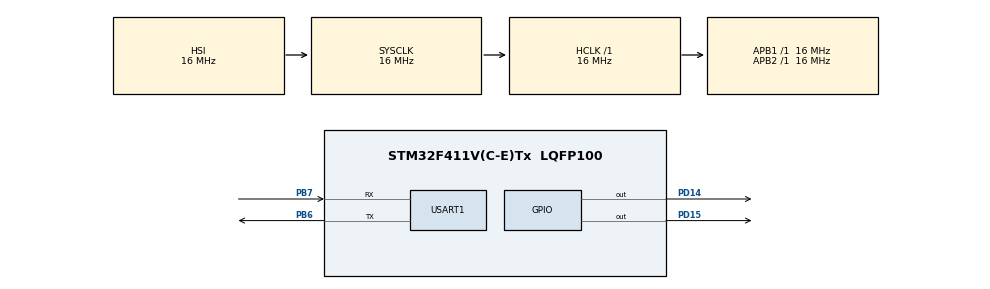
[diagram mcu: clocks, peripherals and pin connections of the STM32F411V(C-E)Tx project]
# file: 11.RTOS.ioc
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Mcu.Family=STM32F4
FREERTOS.Queues01=sensor_queue_,16,uint16_t,0,Dynamic,NULL,NULL
RCC.CortexFreq_Value=16000000
FREERTOS.Tasks01=Task1,24,128,task1_blink_red_led,Default,NULL,Dynamic,NULL,NULL;Task2,8,128,task2_blink_bue_led,Default,NULL,Dynamic,NULL,NULL;Task3,8,512,task3_send_hello,Default,NULL,Dynamic,NULL,NULL;Task4,8,512,task4_send_xinchao,Default,NULL,Dynamic,NULL,NULL;Task5,8,128,task5_read_ss_data,Default,NULL,Dynamic,NULL,NULL
ProjectManager.StackSize=0x400
VP_FREERTOS_VS_CMSIS_V2.Mode=CMSIS_V2
ProjectManager.TargetToolchain=STM32CubeIDE
PB6.Signal=USART1_TX
PB6.Mode=Asynchronous
RCC.LSE_VALUE=32768
RCC.AHBFreq_Value=16000000
RCC.HSE_VALUE=25000000
board=custom
RCC.VCOOutputFreq_Value=192000000
RCC.APB2Freq_Value=16000000
PB7.Signal=USART1_RX
Mcu.Name=STM32F411V(C-E)Tx
PD14.Signal=GPIO_Output
RCC.SYSCLKFreq_VALUE=16000000
Mcu.Package=LQFP100
USART1.VirtualMode=VM_ASYNC
PB7.Mode=Asynchronous
ProjectManager.HeapSize=0x200
RCC.HSI_VALUE=16000000
FREERTOS.Mutexes01=Uart_lock,Dynamic,NULL
NVIC.PriorityGroup=NVIC_PRIORITYGROUP_4
RCC.APB1Freq_Value=16000000
PD15.Signal=GPIO_Output

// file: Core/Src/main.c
/* USER CODE BEGIN Header */
/**
  ******************************************************************************
  * @file           : main.c
  * @brief          : Main program body
  ******************************************************************************
  * @attention
  *
  * <h2><center>&copy; Copyright (c) 2025 STMicroelectronics.
  * All rights reserved.</center></h2>
  *
  * This software component is licensed by ST under BSD 3-Clause license,
  * the "License"; You may not use this file except in compliance with the
  * License. You may obtain a copy of the License at:
  *                        opensource.org/licenses/BSD-3-Clause
  *
  ******************************************************************************
  */
/* USER CODE END Header */
#include "main.h"
#include "cmsis_os.h"

UART_HandleTypeDef huart1;

/* Definitions for Task1 */
osThreadId_t Task1Handle;
const osThreadAttr_t Task1_attributes = {
  .name = "Task1",
  .stack_size = 128 * 4,
  .priority = (osPriority_t) osPriorityNormal,
};
/* Definitions for Task2 */
osThreadId_t Task2Handle;
const osThreadAttr_t Task2_attributes = {
  .name = "Task2",
  .stack_size = 128 * 4,
  .priority = (osPriority_t) osPriorityLow,
};
/* Definitions for Task3 */
osThreadId_t Task3Handle;
const osThreadAttr_t Task3_attributes = {
  .name = "Task3",
  .stack_size = 512 * 4,
  .priority = (osPriority_t) osPriorityLow,
};
/* Definitions for Task4 */
osThreadId_t Task4Handle;
const osThreadAttr_t Task4_attributes = {
  .name = "Task4",
  .stack_size = 512 * 4,
  .priority = (osPriority_t) osPriorityLow,
};
/* Definitions for Task5 */
osThreadId_t Task5Handle;
const osThreadAttr_t Task5_attributes = {
  .name = "Task5",
  .stack_size = 128 * 4,
  .priority = (osPriority_t) osPriorityLow,
};
/* Definitions for sensor_queue_ */
osMessageQueueId_t sensor_queue_Handle;
const osMessageQueueAttr_t sensor_queue__attributes = {
  .name = "sensor_queue_"
};
/* Definitions for Uart_lock */
osMutexId_t Uart_lockHandle;
const osMutexAttr_t Uart_lock_attributes = {
  .name = "Uart_lock"
};

void SystemClock_Config(void);
static void MX_GPIO_Init(void);
static void MX_USART1_UART_Init(void);
void task1_blink_red_led(void *argument);
void task2_blink_bue_led(void *argument);
void task3_send_hello(void *argument);
void task4_send_xinchao(void *argument);
void task5_read_ss_data(void *argument);

/* USER CODE BEGIN 0 */
#include <stdarg.h>
#include <stdio.h>
#include <string.h>
void my_printf (char *format, ...){
	va_list args;
	va_start (args, format);
	char data_to_print[512] = {0};
	vsprintf(data_to_print, format, args);
	int data_len = strlen(data_to_print);
	for (int i = 0; i < data_len; i ++){
		HAL_UART_Transmit(&huart1, (uint8_t*)&data_to_print[i], 1, HAL_MAX_DELAY);

	}
	va_end(args);
}
/* USER CODE END 0 */

int main(void)
{

  /* MCU Configuration--------------------------------------------------------*/

  /* Reset of all peripherals, Initializes the Flash interface and the Systick. */
  HAL_Init();

  /* Configure the system clock */
  SystemClock_Config();

  /* Initialize all configured peripherals */
  MX_GPIO_Init();
  MX_USART1_UART_Init();

  /* Init scheduler */
  osKernelInitialize();
  /* Create the mutex(es) */
  /* creation of Uart_lock */
  Uart_lockHandle = osMutexNew(&Uart_lock_attributes);

  /* Create the queue(s) */
  /* creation of sensor_queue_ */
  sensor_queue_Handle = osMessageQueueNew (16, sizeof(uint16_t), &sensor_queue__attributes);

  /* Create the thread(s) */
  /* creation of Task1 */
  Task1Handle = osThreadNew(task1_blink_red_led, NULL, &Task1_attributes);

  /* creation of Task2 */
  Task2Handle = osThreadNew(task2_blink_bue_led, NULL, &Task2_attributes);

  /* creation of Task3 */
  Task3Handle = osThreadNew(task3_send_hello, NULL, &Task3_attributes);

  /* creation of Task4 */
  Task4Handle = osThreadNew(task4_send_xinchao, NULL, &Task4_attributes);

  /* creation of Task5 */
  Task5Handle = osThreadNew(task5_read_ss_data, NULL, &Task5_attributes);

  /* Start scheduler */
  osKernelStart();

  /* We should never get here as control is now taken by the scheduler */
  /* Infinite loop */
  while (1)
  {

  }
}

void SystemClock_Config(void)
{
  RCC_OscInitTypeDef RCC_OscInitStruct = {0};
  RCC_ClkInitTypeDef RCC_ClkInitStruct = {0};

  /** Configure the main internal regulator output voltage
  */
  __HAL_RCC_PWR_CLK_ENABLE();
  __HAL_PWR_VOLTAGESCALING_CONFIG(PWR_REGULATOR_VOLTAGE_SCALE1);
  /** Initializes the RCC Oscillators according to the specified parameters
  * in the RCC_OscInitTypeDef structure.
  */
  RCC_OscInitStruct.OscillatorType = RCC_OSCILLATORTYPE_HSI;
  RCC_OscInitStruct.HSIState = RCC_HSI_ON;
  RCC_OscInitStruct.HSICalibrationValue = RCC_HSICALIBRATION_DEFAULT;
  RCC_OscInitStruct.PLL.PLLState = RCC_PLL_NONE;
  if (HAL_RCC_OscConfig(&RCC_OscInitStruct) != HAL_OK)
  {
    Error_Handler();
  }
  /** Initializes the CPU, AHB and APB buses clocks
  */
  RCC_ClkInitStruct.ClockType = RCC_CLOCKTYPE_HCLK|RCC_CLOCKTYPE_SYSCLK
                              |RCC_CLOCKTYPE_PCLK1|RCC_CLOCKTYPE_PCLK2;
  RCC_ClkInitStruct.SYSCLKSource = RCC_SYSCLKSOURCE_HSI;
  RCC_ClkInitStruct.AHBCLKDivider = RCC_SYSCLK_DIV1;
  RCC_ClkInitStruct.APB1CLKDivider = RCC_HCLK_DIV1;
  RCC_ClkInitStruct.APB2CLKDivider = RCC_HCLK_DIV1;

  if (HAL_RCC_ClockConfig(&RCC_ClkInitStruct, FLASH_LATENCY_0) != HAL_OK)
  {
    Error_Handler();
  }
}

static void MX_USART1_UART_Init(void)
{

  huart1.Instance = USART1;
  huart1.Init.BaudRate = 115200;
  huart1.Init.WordLength = UART_WORDLENGTH_8B;
  huart1.Init.StopBits = UART_STOPBITS_1;
  huart1.Init.Parity = UART_PARITY_NONE;
  huart1.Init.Mode = UART_MODE_TX_RX;
  huart1.Init.HwFlowCtl = UART_HWCONTROL_NONE;
  huart1.Init.OverSampling = UART_OVERSAMPLING_16;
  if (HAL_UART_Init(&huart1) != HAL_OK)
  {
    Error_Handler();
  }

}

static void MX_GPIO_Init(void)
{
  GPIO_InitTypeDef GPIO_InitStruct = {0};

  /* GPIO Ports Clock Enable */
  __HAL_RCC_GPIOD_CLK_ENABLE();
  __HAL_RCC_GPIOB_CLK_ENABLE();

  /*Configure GPIO pin Output Level */
  HAL_GPIO_WritePin(GPIOD, GPIO_PIN_14|GPIO_PIN_15, GPIO_PIN_RESET);

  /*Configure GPIO pins : PD14 PD15 */
  GPIO_InitStruct.Pin = GPIO_PIN_14|GPIO_PIN_15;
  GPIO_InitStruct.Mode = GPIO_MODE_OUTPUT_PP;
  GPIO_InitStruct.Pull = GPIO_NOPULL;
  GPIO_InitStruct.Speed = GPIO_SPEED_FREQ_LOW;
  HAL_GPIO_Init(GPIOD, &GPIO_InitStruct);

}

void task1_blink_red_led(void *argument)
{
  /* USER CODE BEGIN 5 */
  /* Infinite loop */
  for(;;)
  {
	  HAL_GPIO_TogglePin(GPIOD, GPIO_PIN_14);
	  osDelay(1000);
  }
  /* USER CODE END 5 */
}

void task2_blink_bue_led(void *argument)
{
  /* USER CODE BEGIN task2_blink_bue_led */
  /* Infinite loop */
  for(;;)
  {
	HAL_GPIO_TogglePin(GPIOD, GPIO_PIN_15);
    osDelay(1000);
  }
  /* USER CODE END task2_blink_bue_led */
}

int global_var;
void task3_send_hello(void *argument)
{
  /* USER CODE BEGIN task3_send_hello */
  /* Infinite loop */
  //int cnt = 0;
  int temp = 0;
  for(;;)
  {
	  //temp = global_var;
	  osMessageQueueGet(sensor_queue_Handle, &temp, 0, HAL_MAX_DELAY);
	  // Hàm dành Mutexes
	  osMutexAcquire(Uart_lockHandle, HAL_MAX_DELAY);
	  //my_printf("Hello PC [%3d] \n", cnt++);
	  my_printf("Hello PC [%3d] \n", temp);
	  // Dùng xong thì release
	  osMutexRelease(Uart_lockHandle);
	  osDelay(1000);
  }
  /* USER CODE END task3_send_hello */
}

void task4_send_xinchao(void *argument)
{
  /* USER CODE BEGIN task4_send_xinchao */
	/* Infinite loop */
	int cnt = 0 ;
	for(;;)
	{
	  osMutexAcquire(Uart_lockHandle, HAL_MAX_DELAY);
	  my_printf("Xin chao PC [%3d] \n", cnt++);
	  osMutexRelease(Uart_lockHandle);
	  osDelay(1000);
	}
  /* USER CODE END task4_send_xinchao */
}

void task5_read_ss_data(void *argument)
{
  /* USER CODE BEGIN task5_read_ss_data */
  /* Infinite loop */
	int ss_data = 0 ;
  for(;;)
  {
	 ss_data ++;
	 //global_var = ss_data;
	 osMessageQueuePut(sensor_queue_Handle, &ss_data, 0, HAL_MAX_DELAY);
    osDelay(500);
  }
  /* USER CODE END task5_read_ss_data */
}

void Error_Handler(void)
{
  __disable_irq();
  while (1)
  {
  }
}

/************************ (C) COPYRIGHT STMicroelectronics *****END OF FILE****/
